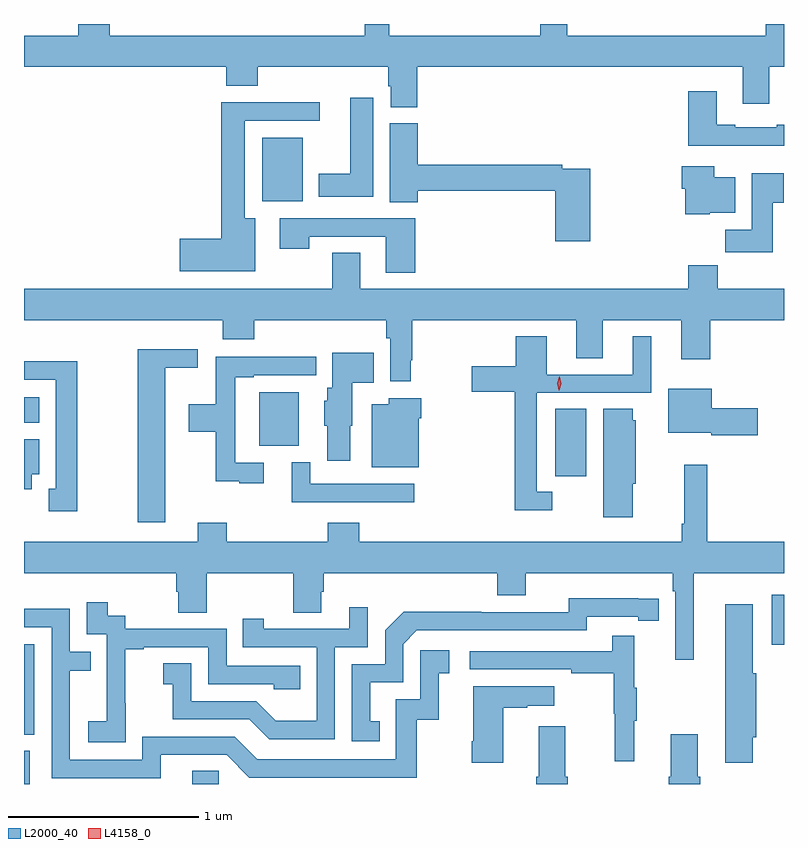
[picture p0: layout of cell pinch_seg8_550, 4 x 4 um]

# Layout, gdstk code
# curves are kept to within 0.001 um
import gdstk
lib = gdstk.Library(unit=1e-6, precision=1e-09)
def R(c, l, rs):  # rectangles x0, y0, x1, y1
    for r in rs: c.add(gdstk.rectangle(r[:2], r[2:], *l))
def P(c, l, *ps):  # polygons
    for p in ps: c.add(gdstk.Polygon(p, *l))
L2000_40 = (2000, 40)
L4158_0 = (4158, 0)

pinch_seg8_550 = lib.new_cell('pinch_seg8_550')
R(pinch_seg8_550, L2000_40, [(167.42,1112.726,167.449,1112.9), (168.305,1112.726,168.444,1112.795), (167.42,1112.985,167.475,1113.462), (171.356,1113.458,171.42,1113.721), (170.216,1114.347,170.38,1114.7), (168.659,1114.505,168.865,1114.789), (167.42,1114.628,167.5,1114.762), (168.674,1115.792,168.886,1116.127)])
P(pinch_seg8_550, L2000_40, [(169.49,1116.5),(171.203,1116.5),(171.203,1116.306),(171.343,1116.306),(171.343,1116.5),(171.42,1116.5),(171.42,1116.726),(171.323,1116.726),(171.323,1116.664),(170.278,1116.664),(170.278,1116.726),(170.138,1116.726),(170.138,1116.664),(169.342,1116.664),(169.342,1116.726),(169.213,1116.726),(169.213,1116.664),(167.87,1116.664),(167.87,1116.726),(167.705,1116.726),(167.705,1116.664),(167.42,1116.664),(167.42,1116.5),(168.485,1116.5),(168.485,1116.401),(168.65,1116.401),(168.65,1116.5),(169.337,1116.5),(169.337,1116.399),(169.349,1116.399),(169.349,1116.289),(169.49,1116.289)],
  [(171.42,1116.196),(171.383,1116.196),(171.383,1116.183),(171.163,1116.183),(171.163,1116.196),(171.067,1116.196),(171.067,1116.373),(170.915,1116.373),(170.915,1116.086),(171.42,1116.086)],
  [(169.258,1116.337),(169.136,1116.337),(169.136,1115.938),(168.971,1115.938),(168.971,1115.816),(169.258,1115.816)],
  [(168.637,1115.704),(168.583,1115.704),(168.583,1116.216),(168.976,1116.216),(168.976,1116.314),(168.458,1116.314),(168.458,1115.597),(168.24,1115.597),(168.24,1115.426),(168.637,1115.426)],
  [(170.399,1115.964),(170.252,1115.964),(170.252,1115.984),(169.493,1115.984),(169.493,1116.204),(169.346,1116.204),(169.346,1115.788),(169.493,1115.788),(169.493,1115.848),(170.216,1115.848),(170.216,1115.583),(170.399,1115.583)],
  [(171.03,1115.732),(171.163,1115.732),(171.163,1115.92),(171.052,1115.92),(171.052,1115.977),(170.882,1115.977),(170.882,1115.859),(170.9,1115.859),(170.9,1115.726),(171.03,1115.726)],
  [(171.361,1115.785),(171.418,1115.785),(171.418,1115.941),(171.251,1115.941),(171.251,1115.644),(171.112,1115.644),(171.112,1115.526),(171.361,1115.526)],
  [(169.478,1115.703),(168.765,1115.703),(168.765,1115.544),(168.921,1115.544),(168.921,1115.607),(169.325,1115.607),(169.325,1115.418),(169.478,1115.418)],
  [(169.456,1114.957),(169.463,1114.957),(169.463,1115.168),(170.327,1115.168),(170.327,1114.966),(170.467,1114.966),(170.467,1115.168),(170.879,1115.168),(170.879,1114.962),(171.032,1114.962),(171.032,1115.168),(171.42,1115.168),(171.42,1115.332),(171.071,1115.332),(171.071,1115.456),(170.915,1115.456),(170.915,1115.332),(169.189,1115.332),(169.189,1115.522),(169.042,1115.522),(169.042,1115.332),(167.42,1115.332),(167.42,1115.168),(168.467,1115.168),(168.467,1115.066),(168.632,1115.066),(168.632,1115.168),(169.327,1115.168),(169.327,1115.072),(169.347,1115.072),(169.347,1114.845),(169.456,1114.845)],
  [(170.2,1114.263),(170.118,1114.263),(170.118,1114.785),(170.722,1114.785),(170.722,1115.083),(170.624,1115.083),(170.624,1114.881),(170.17,1114.881),(170.17,1115.083),(170.009,1115.083),(170.009,1114.924),(169.776,1114.924),(169.776,1114.79),(170.002,1114.79),(170.002,1114.166),(170.2,1114.166)],
  [(168.163,1114.916),(168.334,1114.916),(168.334,1115.014),(168.019,1115.014),(168.019,1114.104),(168.163,1114.104)],
  [(169.138,1114.611),(169.147,1114.611),(169.147,1114.838),(169.262,1114.838),(169.262,1114.996),(169.043,1114.996),(169.043,1114.812),(169.016,1114.812),(169.016,1114.743),(169.001,1114.743),(169.001,1114.611),(169.016,1114.611),(169.016,1114.428),(169.138,1114.428)],
  [(168.682,1114.416),(168.531,1114.416),(168.531,1114.866),(168.628,1114.866),(168.628,1114.878),(168.958,1114.878),(168.958,1114.976),(168.715,1114.976),(168.715,1114.974),(168.43,1114.974),(168.43,1114.726),(168.288,1114.726),(168.288,1114.579),(168.43,1114.579),(168.43,1114.319),(168.554,1114.319),(168.554,1114.308),(168.682,1114.308)],
  [(167.699,1114.952),(167.466,1114.952),(167.466,1114.95),(167.42,1114.95),(167.42,1114.854),(167.588,1114.854),(167.588,1114.281),(167.549,1114.281),(167.549,1114.161),(167.699,1114.161)],
  [(171.283,1114.704),(171.04,1114.704),(171.04,1114.807),(170.81,1114.807),(170.81,1114.574),(171.036,1114.574),(171.036,1114.562),(171.283,1114.562)],
  [(169.498,1114.652),(169.511,1114.652),(169.511,1114.756),(169.34,1114.756),(169.34,1114.726),(169.25,1114.726),(169.25,1114.394),(169.498,1114.394)],
  [(170.623,1114.305),(170.641,1114.305),(170.641,1114.641),(170.623,1114.641),(170.623,1114.7),(170.468,1114.7),(170.468,1114.131),(170.623,1114.131)],
  [(167.461,1114.356),(167.5,1114.356),(167.5,1114.54),(167.42,1114.54),(167.42,1114.277),(167.461,1114.277)],
  [(169.474,1114.305),(168.927,1114.305),(168.927,1114.42),(168.83,1114.42),(168.83,1114.209),(169.474,1114.209)],
  [(170.944,1113.836),(171.42,1113.836),(171.42,1114),(171.017,1114),(171.017,1114.405),(170.896,1114.405),(170.896,1114.096),(170.881,1114.096),(170.881,1114),(169.184,1114),(169.184,1114.102),(169.019,1114.102),(169.019,1114),(168.488,1114),(168.488,1114.102),(168.335,1114.102),(168.335,1114),(167.42,1114),(167.42,1113.836),(168.221,1113.836),(168.221,1113.738),(168.233,1113.738),(168.233,1113.628),(168.381,1113.628),(168.381,1113.836),(168.838,1113.836),(168.838,1113.628),(168.985,1113.628),(168.985,1113.738),(168.998,1113.738),(168.998,1113.836),(169.91,1113.836),(169.91,1113.719),(170.062,1113.719),(170.062,1113.836),(170.834,1113.836),(170.834,1113.74),(170.847,1113.74),(170.847,1113.381),(170.944,1113.381)],
  [(169.292,1113.057),(169.243,1113.057),(169.243,1113.261),(169.416,1113.261),(169.416,1113.462),(169.488,1113.534),(170.382,1113.534),(170.382,1113.606),(170.654,1113.606),(170.654,1113.586),(170.762,1113.586),(170.762,1113.702),(170.286,1113.703),(170.286,1113.63),(169.826,1113.63),(169.826,1113.632),(169.418,1113.632),(169.32,1113.534),(169.32,1113.357),(169.146,1113.357),(169.146,1112.952),(169.292,1112.952)],
  [(167.955,1113.151),(167.954,1113.151),(167.954,1113.435),(168.049,1113.435),(168.049,1113.447),(168.39,1113.447),(168.39,1113.252),(168.735,1113.252),(168.735,1113.225),(168.875,1113.225),(168.875,1113.348),(168.486,1113.348),(168.486,1113.543),(167.952,1113.543),(167.952,1113.612),(167.86,1113.612),(167.86,1113.682),(167.751,1113.682),(167.751,1113.513),(167.856,1113.513),(167.856,1113.284),(167.855,1113.284),(167.855,1113.055),(167.757,1113.055),(167.757,1112.945),(167.955,1112.945)],
  [(171.256,1112.973),(171.274,1112.973),(171.274,1113.309),(171.256,1113.309),(171.256,1113.673),(171.11,1113.673),(171.11,1112.838),(171.256,1112.838)],
  [(169.056,1113.447),(169.23,1113.447),(169.23,1113.655),(169.133,1113.655),(169.133,1113.543),(168.682,1113.543),(168.682,1113.595),(168.571,1113.595),(168.571,1113.447),(168.96,1113.447),(168.96,1113.058),(168.746,1113.058),(168.642,1113.162),(168.3,1113.162),(168.3,1113.361),(168.153,1113.361),(168.153,1113.251),(168.202,1113.251),(168.202,1113.066),(168.605,1113.066),(168.71,1112.961),(169.056,1112.961)],
  [(168.139,1112.88),(168.486,1112.88),(168.606,1112.76),(169.486,1112.76),(169.486,1113.063),(169.604,1113.063),(169.604,1113.309),(169.657,1113.309),(169.657,1113.43),(169.506,1113.43),(169.506,1113.171),(169.377,1113.171),(169.377,1112.856),(168.648,1112.856),(168.528,1112.976),(168.042,1112.976),(168.042,1112.853),(167.661,1112.853),(167.661,1113.322),(167.771,1113.322),(167.771,1113.423),(167.661,1113.423),(167.661,1113.648),(167.42,1113.648),(167.42,1113.552),(167.565,1113.552),(167.565,1112.757),(168.139,1112.757)],
  [(170.633,1113.059),(170.644,1113.059),(170.644,1113.233),(170.633,1113.233),(170.633,1113.505),(170.515,1113.505),(170.515,1113.426),(169.767,1113.426),(169.767,1113.33),(170.299,1113.33),(170.299,1113.31),(170.523,1113.31),(170.523,1113.096),(170.53,1113.096),(170.53,1112.847),(170.633,1112.847)],
  [(169.942,1113.127),(170.069,1113.127),(170.069,1113.137),(170.212,1113.137),(170.212,1113.241),(169.784,1113.241),(169.784,1112.95),(169.777,1112.95),(169.777,1112.838),(169.942,1112.838)],
  [(170.282,1112.764),(170.269,1112.764),(170.269,1113.031),(170.129,1113.031),(170.129,1112.764),(170.117,1112.764),(170.117,1112.726),(170.282,1112.726)],
  [(170.978,1112.764),(170.965,1112.764),(170.965,1112.989),(170.825,1112.989),(170.825,1112.764),(170.813,1112.764),(170.813,1112.726),(170.978,1112.726)])
P(pinch_seg8_550, L4158_0, [(170.236,1114.797),(170.235,1114.798),(170.227,1114.834),(170.238,1114.869),(170.239,1114.869),(170.239,1114.869),(170.247,1114.833),(170.236,1114.798)])

lib.write_gds('pinch_seg8_550.gds')
